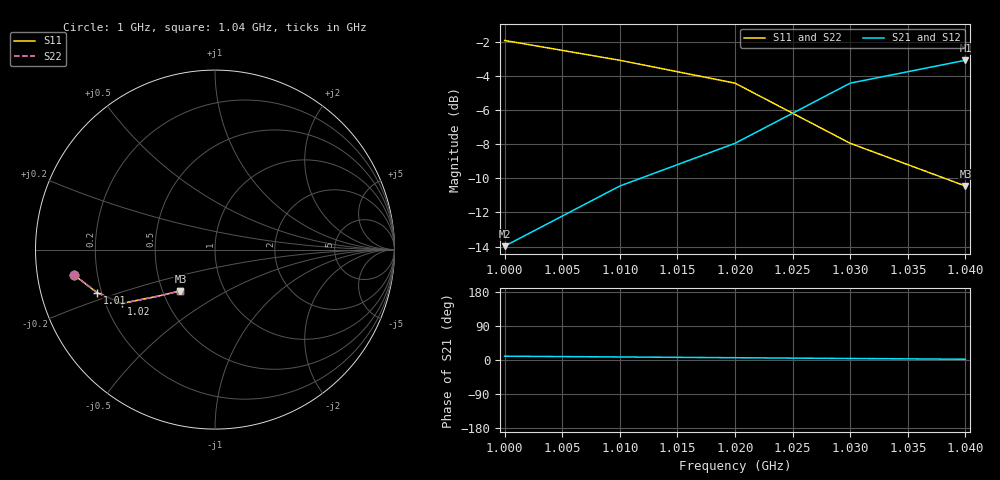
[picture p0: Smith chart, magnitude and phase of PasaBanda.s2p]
# Hz S MA R 50
! Frecuencia (Hz)  S11_mag  S11_ang  S21_mag  S21_ang  S12_mag  S12_ang  S22_mag  S22_ang
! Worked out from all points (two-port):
!   5 points, 1 GHz to 1.04 GHz, reference 50 ohm
!   highest |S21| = -3.10 dB at 1.04 GHz (marker M1); lowest = -14.0 dB at 1 GHz (marker M2)
!   |S21| within 3 dB of the highest: 1.0253 GHz to end of sweep
!   lowest |S11| = -10.5 dB at 1.04 GHz (marker M3), VSWR 1.86, Z = 30.8 - j15.6 ohm
!   |S11| at or under -10 dB: 1.038169 GHz to end of sweep
!   |S22| runs from -10.5 to -1.9 dB; largest |S21 - S12| = 0
!   S11 on the Smith chart (normalised r, x): 1 GHz: 0.11, -0.09; 1.01 GHz: 0.18, -0.17; 1.02 GHz: 0.27, -0.25; 1.04 GHz: 0.62, -0.31
1e9  0.8 -170.0  0.2 10.0  0.2 10.0  0.8 -170.0
1.01e9  0.7 -160.0  0.3 8.0  0.3 8.0  0.7 -160.0
1.02e9  0.6 -150.0  0.4 6.0  0.4 6.0  0.6 -150.0
1.03e9  0.4 -140.0  0.6 4.0  0.6 4.0  0.4 -140.0
1.04e9  0.3 -130.0  0.7 2.0  0.7 2.0  0.3 -130.0
